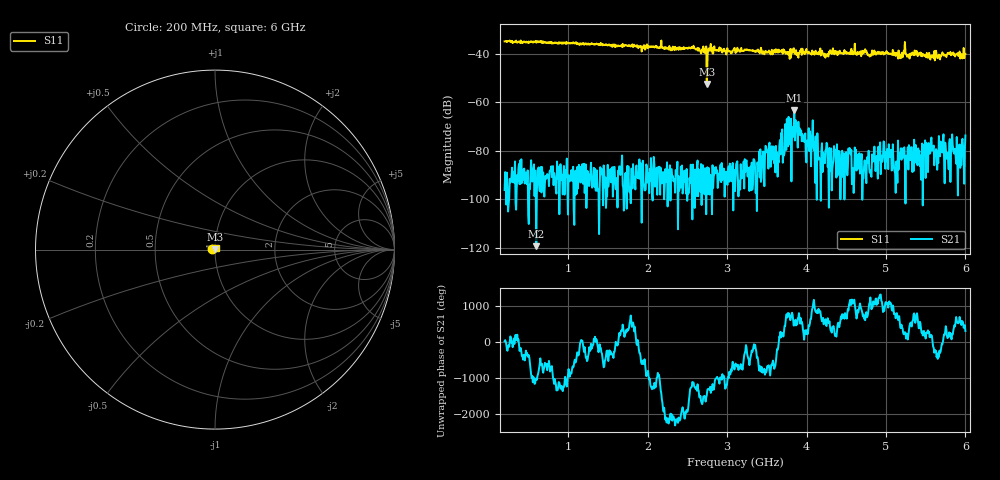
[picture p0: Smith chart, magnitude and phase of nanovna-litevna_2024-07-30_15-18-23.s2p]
! NanoVNA-App by OneOfEleven et al v1.1.209 (+OD15)
! Date: 2024-07-30 15:18:27
! Start: 200MHz Stop: 6GHz Points: 801
! S-Parameter data: F S11 S21 S12 S22
# Hz S RI R 50
!  Frequency  S11_Real  S11_Imag  S21_Real  S21_Imag  S12_Real  S12_Imag  S22_Real  S22_Imag
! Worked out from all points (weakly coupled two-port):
!   801 points, 200 MHz to 6 GHz, reference 50 ohm
!   highest |S21| = -63.29 dB at 3.847 GHz (marker M1); lowest = -119.3 dB at 598.8 MHz (marker M2)
!   lowest |S11| = -52.4 dB at 2.745 GHz (marker M3), VSWR 1.00, Z = 49.9 + j0.194 ohm
!   |S11| at or under -10 dB: start of sweep to end of sweep
!   S12 and S22 are empty: the file has one direction only
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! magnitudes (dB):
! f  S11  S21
! 200 MHz  -34.8  -96.2
! 598.8 MHz  -35.3  -119.3
! 1.171 GHz  -35.9  -86.9
! 2.136 GHz  -37.6  -86.6
! 2.571 GHz  -37.4  -85.6
! 2.745 GHz  -52.4  -89.4
! 2.788 GHz  -37.3  -89.9
! 3.1 GHz  -38.2  -96.6
! 3.622 GHz  -39.3  -83.9
! 3.738 GHz  -40.0  -69.1
! 3.76 GHz  -39.2  -74.6
! 3.825 GHz  -39.5  -70.2
! 3.847 GHz  -39.2  -63.3
! 3.992 GHz  -38.5  -82.6
! 4.072 GHz  -38.6  -74.0
! 4.173 GHz  -37.8  -83.7
! 5.036 GHz  -40.0  -77.3
! 5.63 GHz  -38.7  -79.3
! 5.696 GHz  -40.7  -77.7
! 5.761 GHz  -41.3  -83.2
! 5.964 GHz  -41.8  -75.0
! 6 GHz  -40.0  -73.6
